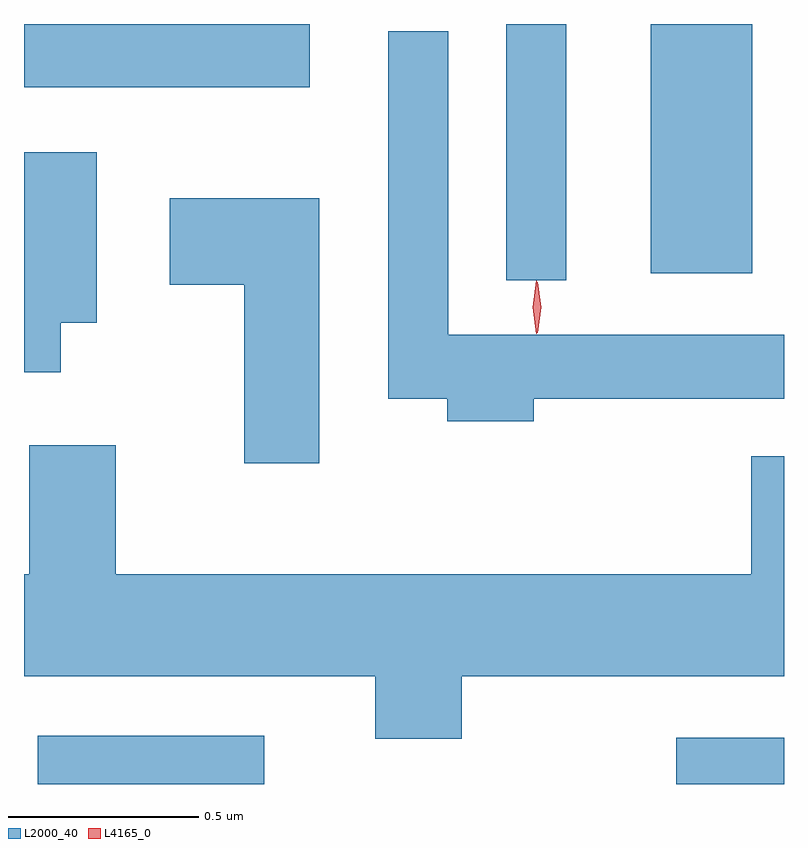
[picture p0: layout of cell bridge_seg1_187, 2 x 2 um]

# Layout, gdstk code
import gdstk
lib = gdstk.Library(unit=1e-6, precision=1e-09)
def R(c, l, rs):  # rectangles x0, y0, x1, y1
    for r in rs: c.add(gdstk.rectangle(r[:2], r[2:], *l))
def P(c, l, *ps):  # polygons
    for p in ps: c.add(gdstk.Polygon(p, *l))
L2000_40 = (2000, 40)
L4165_0 = (4165, 0)

bridge_seg1_187 = lib.new_cell('bridge_seg1_187')
R(bridge_seg1_187, L2000_40, [(801.943,957.012,802.539,957.139), (803.623,957.012,803.907,957.134), (803.176,958.338,803.334,959.012), (803.556,958.356,803.824,959.012), (801.907,958.846,802.659,959.012)])
P(bridge_seg1_187, L2000_40, [(803.249,958.026),(803.907,958.026),(803.907,958.194),(803.024,958.194),(803.024,958.993),(802.866,958.993),(802.866,958.026),(803.021,958.026),(803.021,957.966),(803.249,957.966)],
  [(802.004,958.226),(802.099,958.226),(802.099,958.674),(801.907,958.674),(801.907,958.096),(802.004,958.096)],
  [(802.684,958.554),(802.291,958.554),(802.291,958.326),(802.486,958.326),(802.486,957.856),(802.684,957.856)],
  [(803.059,957.296),(803.907,957.296),(803.907,957.874),(803.821,957.874),(803.821,957.564),(802.149,957.564),(802.149,957.904),(801.921,957.904),(801.921,957.564),(801.907,957.564),(801.907,957.296),(802.831,957.296),(802.831,957.131),(803.059,957.131)])
P(bridge_seg1_187, L4165_0, [(803.258,958.2),(803.258,958.2),(803.248,958.266),(803.258,958.333),(803.258,958.333),(803.259,958.333),(803.268,958.266),(803.259,958.2)],
  [(803.255,958.197),(803.246,958.267),(803.255,958.336),(803.256,958.336),(803.256,958.336),(803.266,958.267),(803.256,958.197),(803.256,958.197)])

lib.write_gds('bridge_seg1_187.gds')
